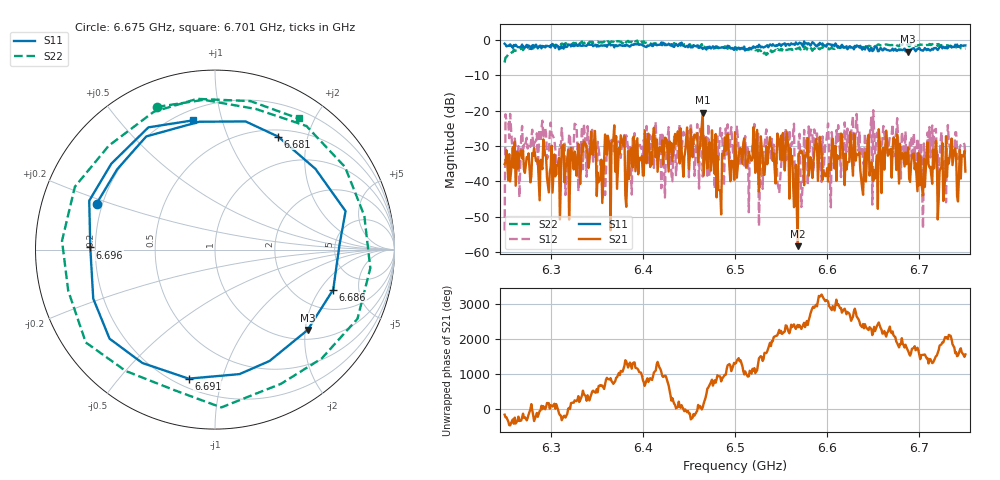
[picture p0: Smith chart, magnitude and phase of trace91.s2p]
# Hz S RI R 50
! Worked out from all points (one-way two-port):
!   401 points, 6.25 GHz to 6.75 GHz, reference 50 ohm
!   highest |S21| = -20.54 dB at 6.465 GHz (marker M1); lowest = -58.3 dB at 6.568 GHz (marker M2)
!   lowest |S11| = -3.3 dB at 6.688 GHz (marker M3), VSWR 5.31, Z = 61.2 - j103 ohm
!   |S11| at or under -10 dB: nowhere
!   |S22| runs from -6.4 to -0.1 dB; largest |S21 - S12| = 0.12
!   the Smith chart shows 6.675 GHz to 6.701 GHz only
!   S11 on the Smith chart (normalised r, x): 6.675 GHz: 0.18, +0.18; 6.681 GHz: 0.59, +1.54; 6.686 GHz: 3.11, -2.68; 6.691 GHz: 0.25, -0.78; 6.696 GHz: 0.18, +0.01; 6.701 GHz: 0.26, +0.81
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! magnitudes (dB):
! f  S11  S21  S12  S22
! 6.25 GHz  -1.0  -35.1  -53.9  -6.4
! 6.254 GHz  -1.6  -39.7  -23.3  -4.1
! 6.264 GHz  -2.0  -31.6  -35.3  -3.0
! 6.334 GHz  -1.6  -29.5  -24.5  -0.4
! 6.418 GHz  -1.3  -30.3  -29.9  -0.8
! 6.465 GHz  -2.5  -20.5  -38.6  -2.2
! 6.482 GHz  -2.2  -42.4  -34.0  -2.2
! 6.49 GHz  -2.2  -31.3  -25.0  -1.9
! 6.5 GHz  -2.0  -26.0  -39.3  -2.3
! 6.548 GHz  -1.1  -28.9  -43.2  -2.8
! 6.555 GHz  -1.7  -31.0  -25.0  -2.8
! 6.568 GHz  -1.2  -58.3  -46.5  -2.3
! 6.584 GHz  -0.6  -39.0  -25.7  -3.0
! 6.668 GHz  -3.0  -31.0  -27.1  -1.4
! 6.675 GHz  -3.0  -36.8  -26.0  -1.3
! 6.681 GHz  -2.8  -33.3  -25.9  -1.4
! 6.686 GHz  -3.2  -35.1  -35.5  -1.6
! 6.688 GHz  -3.3  -30.4  -34.6  -1.1
! 6.691 GHz  -2.7  -35.5  -27.8  -1.0
! 6.696 GHz  -3.2  -34.7  -34.0  -1.6
! 6.701 GHz  -2.7  -32.7  -32.7  -1.2
! 6.75 GHz  -1.5  -37.2  -32.6  -2.4
